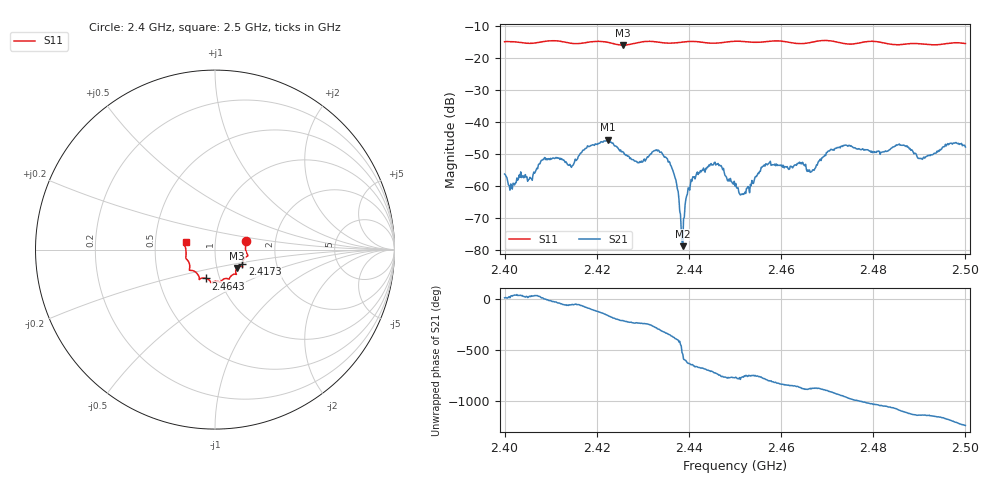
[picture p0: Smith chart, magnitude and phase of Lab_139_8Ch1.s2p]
# Hz S RI R 50
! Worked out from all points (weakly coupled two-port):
!   601 points, 2.4 GHz to 2.5 GHz, reference 50 ohm
!   highest |S21| = -45.47 dB at 2.4223 GHz (marker M1); lowest = -78.7 dB at 2.4387 GHz (marker M2)
!   lowest |S11| = -15.9 dB at 2.4257 GHz (marker M3), VSWR 1.38, Z = 62.4 - j13.1 ohm
!   |S11| at or under -10 dB: start of sweep to end of sweep
!   S12 and S22 are empty: the file has one direction only
!   S11 on the Smith chart (normalised r, x): 2.4 GHz: 1.41, +0.14; 2.4173 GHz: 1.34, -0.23; 2.4643 GHz: 0.86, -0.28; 2.5 GHz: 0.72, +0.06
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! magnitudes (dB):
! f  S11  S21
! 2.4 GHz  -14.9  -56.2
! 2.4017 GHz  -14.9  -60.9
! 2.4083 GHz  -14.8  -51.6
! 2.4143 GHz  -15.4  -53.7
! 2.4167 GHz  -15.4  -49.5
! 2.4173 GHz  -15.2  -48.5
! 2.4223 GHz  -15.0  -45.5
! 2.4257 GHz  -15.9  -49.2
! 2.4333 GHz  -15.0  -48.7
! 2.4367 GHz  -15.3  -55.7
! 2.4387 GHz  -15.0  -78.7
! 2.44 GHz  -14.8  -60.6
! 2.4422 GHz  -14.9  -55.7
! 2.446 GHz  -15.3  -53.1
! 2.45 GHz  -14.7  -59.9
! 2.4518 GHz  -14.8  -62.5
! 2.4572 GHz  -14.8  -53.0
! 2.4643 GHz  -15.5  -52.6
! 2.4667 GHz  -15.0  -55.4
! 2.4735 GHz  -15.4  -47.2
! 2.4833 GHz  -15.6  -48.8
! 2.5 GHz  -15.4  -47.7
